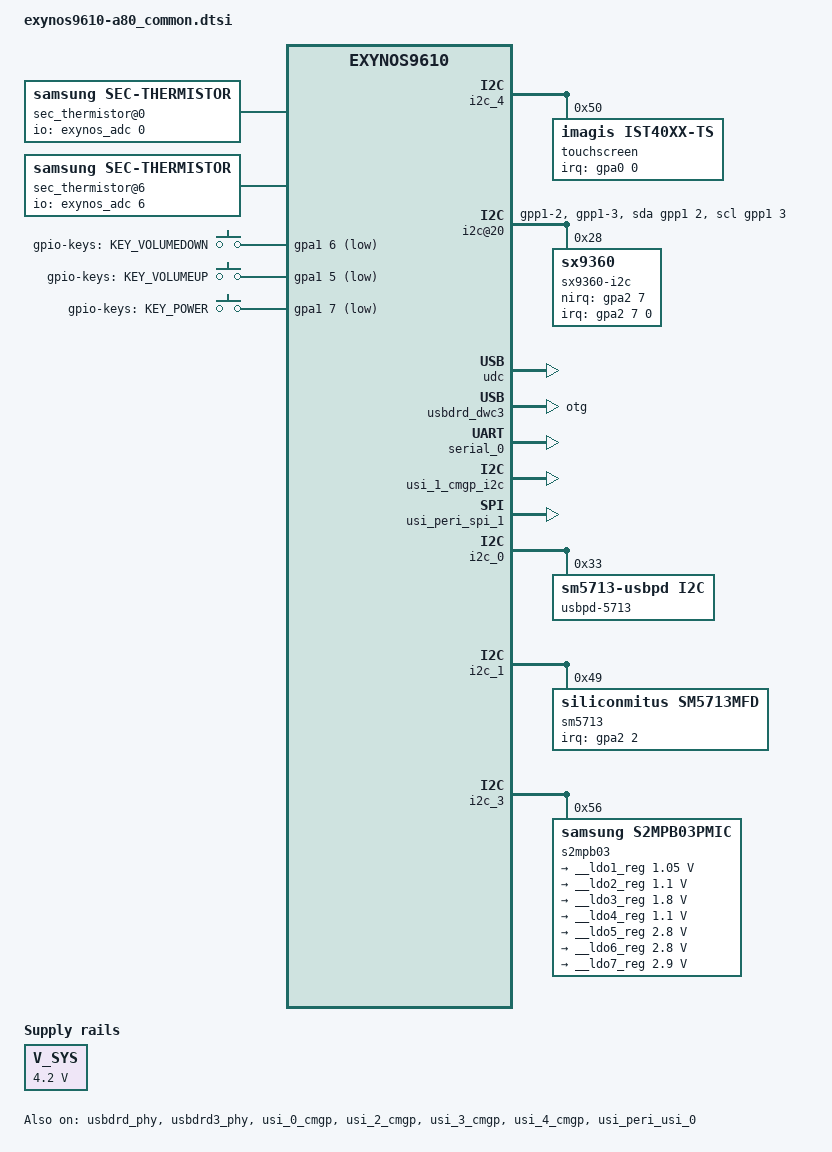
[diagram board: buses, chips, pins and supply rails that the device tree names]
/*
 * SAMSUNG EXYNOS9610 board device tree source
 *
 * Copyright (c) 2018 Samsung Electronics Co., Ltd.
 *		http://www.samsung.com
 *
 * This program is free software; you can redistribute it and/or modify
 * it under the terms of the GNU General Public License version 2 as
 * published by the Free Software Foundation.
 */

#include <dt-bindings/camera/fimc_is.h>
#include <dt-bindings/clock/exynos9610.h>
#include "modem-s337ap-sipc-pdata.dtsi"
#include "display-lcd_a80_common.dtsi"
#include "exynos9610-a80_camera.dtsi"
#include "exynos9610-a80_sound.dtsi"
#include "exynos9610-a50_mst_03.dtsi"
#include "exynos9610-inputbooster.dtsi"

/ {

	fragment@model {
		target-path = "/";
		__overlay__ {
			#address-cells = <2>;
			#size-cells = <1>;

			fixed-rate-clocks {
				oscclk {
					compatible = "samsung,exynos9610-oscclk";
					clock-frequency = <26000000>;
				};
			};

			secgpio_dvs {
				compatible = "samsung,exynos9610-secgpio-dvs";
				status = "okay";
			};

			sec_abc {
				compatible = "samsung,sec_abc";
				status = "okay";

				gpu {
					gpu,label="GPU fault";
					gpu,threshold_count=<20>;
					gpu,threshold_time=<1200>;
				};
				aicl {
					aicl,label="battery aicl";
					aicl,threshold_count=<5>;
					aicl,threshold_time=<300>;
				};
			};

			abc_hub {
				compatible = "samsung,abc_hub";
				status = "okay";

				bootc {
					bootc,time_spec_user = <100000>; /* user binary user build */
					bootc,time_spec_eng = <100000>; /* user binary eng build */
					bootc,time_spec_fac = <100000>; /* factory binary */
				};
			};

			speedy@11a10000 {
				#address-cells = <1>;
				#size-cells = <0>;
				status = "okay";
				s2mpu09mfd@00 {
					compatible = "samsung,s2mpu09mfd";
					acpm-ipc-channel = <2>;
					i2c-speedy-address;
					s2mpu09,wakeup = "enabled";
					s2mpu09,irq-gpio = <&gpa2 0 0>;
					reg = <0x00>;
					interrupts = <2 0 0>;
					interrupt-parent = <&gpa2>;
					pinctrl-names = "default";
					pinctrl-0 = <&pmic_irq &pm_wrsti>;
					/* RTC: wtsr/smpl */
					wtsr_en = "enabled"; /* enable */
					smpl_en = "enabled"; /* enable */
					wtsr_timer_val = <3>;	/* 1000ms */
					smpl_timer_val = <0>;	/* 100ms */
					check_jigon = <0>; /* do not check jigon */
					/* RTC: If it's first boot, reset rtc to 1/1/2019 12:00:00(Tue) */
					init_time,sec = <0>;
					init_time,min = <0>;
					init_time,hour = <12>;
					init_time,mday = <1>;
					init_time,mon = <0>;
					init_time,year = <119>;
					init_time,wday = <2>;

					regulators {
						b1_reg: BUCK1 {
							regulator-name = "vdd_mif";
							regulator-min-microvolt = <500000>;
							regulator-max-microvolt = <1100000>;
							regulator-always-on;
							regulator-ramp-delay = <12000>;
							regulator-initial-mode = <2>;
						};

						b2_reg: BUCK2 {
							regulator-name = "vdd_cpucl1";
							regulator-min-microvolt = <500000>;
							regulator-max-microvolt = <1300000>;
							regulator-always-on;
							regulator-ramp-delay = <12000>;
							regulator-initial-mode = <1>;
						};

						b3_reg: BUCK3 {
							regulator-name = "vdd_cpucl0";
							regulator-min-microvolt = <500000>;
							regulator-max-microvolt = <1300000>;
							regulator-always-on;
							regulator-ramp-delay = <12000>;
							regulator-initial-mode = <1>;
						};

						b4_reg: BUCK4{
							regulator-name = "vdd_int";
							regulator-min-microvolt = <500000>;
							regulator-max-microvolt = <1100000>;
							regulator-always-on;
							regulator-ramp-delay = <12000>;
							regulator-initial-mode = <2>;
						};

						b5_reg: BUCK5 {
							regulator-name = "vdd_g3d";
							regulator-min-microvolt = <500000>;
							regulator-max-microvolt = <1200000>;
							regulator-always-on;
							regulator-ramp-delay = <12000>;
							regulator-initial-mode = <2>;
						};

						b6_reg: BUCK6 {
							regulator-name = "vdd_cam_vipx";
							regulator-min-microvolt = <500000>;
							regulator-max-microvolt = <1300000>;
							regulator-always-on;
							regulator-ramp-delay = <12000>;
							regulator-initial-mode = <2>;
						};

						b7_reg: BUCK7 {
							regulator-name = "vdd2_mem";
							regulator-min-microvolt = <500000>;
							regulator-max-microvolt = <1300000>;
							regulator-always-on;
							regulator-ramp-delay = <12000>;
							regulator-initial-mode = <3>;
						};

						b8_reg: BUCK8 {
							regulator-name = "vdd_lldo";
							regulator-min-microvolt = <1200000>;
							regulator-max-microvolt = <1500000>;
							regulator-always-on;
							regulator-ramp-delay = <12000>;
							regulator-initial-mode = <3>;
						};

						b9_reg: BUCK9 {
							regulator-name = "vdd_mldo";
							regulator-min-microvolt = <1800000>;
							regulator-max-microvolt = <2100000>;
							regulator-always-on;
							regulator-ramp-delay = <12000>;
							regulator-initial-mode = <3>;
						};

						l1_reg: LDO1 {
							regulator-name = "vdd_ldo1";
							regulator-min-microvolt = <700000>;
							regulator-max-microvolt = <1300000>;
							regulator-always-on;
							regulator-ramp-delay = <12000>;
							regulator-initial-mode = <3>;
						};

						l2_reg: LDO2 {
							regulator-name = "vqmmc";
							regulator-min-microvolt = <1800000>;
							regulator-max-microvolt = <3375000>;
							regulator-ramp-delay = <12000>;
						};

						l3_reg: LDO3 {
							regulator-name = "vdd_ldo3";
							regulator-min-microvolt = <800000>;
							regulator-max-microvolt = <1950000>;
							regulator-always-on;
							regulator-ramp-delay = <12000>;
							regulator-initial-mode = <3>;
						};

						l4_reg: LDO4 {
							regulator-name = "vdd_ldo4";
							regulator-min-microvolt = <500000>;
							regulator-max-microvolt = <1100000>;
							regulator-always-on;
							regulator-ramp-delay = <12000>;
							regulator-initial-mode = <1>;
						};

						l5_reg: LDO5 {
							regulator-name = "vdd_ldo5";
							regulator-min-microvolt = <800000>;
							regulator-max-microvolt = <1300000>;
							regulator-always-on;
							regulator-ramp-delay = <12000>;
							regulator-initial-mode = <1>;
						};

						l6_reg: LDO6 {
							regulator-name = "vdd_ldo6";
							regulator-min-microvolt = <800000>;
							regulator-max-microvolt = <1300000>;
							regulator-always-on;
							regulator-ramp-delay = <12000>;
							regulator-initial-mode = <1>;
						};

						l7_reg: LDO7 {
							regulator-name = "vdd_ldo7";
							regulator-min-microvolt = <800000>;
							regulator-max-microvolt = <1950000>;
							regulator-always-on;
							regulator-ramp-delay = <12000>;
							regulator-initial-mode = <1>;
						};

						l8_reg: LDO8 {
							regulator-name = "vdd_ldo8";
							regulator-min-microvolt = <500000>;
							regulator-max-microvolt = <1300000>;
							regulator-always-on;
							regulator-ramp-delay = <12000>;
							regulator-initial-mode = <1>;
						};

						l9_reg: LDO9 {
							regulator-name = "vdd_ldo9";
							regulator-min-microvolt = <500000>;
							regulator-max-microvolt = <1300000>;
							regulator-always-on;
							regulator-ramp-delay = <12000>;
							regulator-initial-mode = <1>;
						};

						l10_reg: LDO10 {
							regulator-name = "vdd_ldo10";
							regulator-min-microvolt = <500000>;
							regulator-max-microvolt = <1300000>;
							regulator-always-on;
							regulator-ramp-delay = <12000>;
							regulator-initial-mode = <1>;
						};

						l11_reg: LDO11 {
							regulator-name = "vdd_ldo11";
							regulator-min-microvolt = <500000>;
							regulator-max-microvolt = <1300000>;
							regulator-always-on;
							regulator-ramp-delay = <12000>;
							regulator-initial-mode = <3>;
						};

						l12_reg: LDO12 {
							regulator-name = "vdd_ldo12";
							regulator-min-microvolt = <800000>;
							regulator-max-microvolt = <1300000>;
							regulator-ramp-delay = <12000>;
							regulator-initial-mode = <3>;
						};

						l13_reg: LDO13 {
							regulator-name = "vdd_ldo13";
							regulator-min-microvolt = <800000>;
							regulator-max-microvolt = <1950000>;
							regulator-ramp-delay = <12000>;
							regulator-initial-mode = <3>;
						};

						l14_reg: LDO14 {
							regulator-name = "vdd_ldo14";
							regulator-min-microvolt = <1800000>;
							regulator-max-microvolt = <3375000>;
							regulator-ramp-delay = <12000>;
							regulator-initial-mode = <3>;
						};

						l33_reg: LDO33 {
							regulator-name = "vdd_ldo33";
							regulator-min-microvolt = <800000>;
							regulator-max-microvolt = <1950000>;
							regulator-ramp-delay = <12000>;
						};

						l34_reg: LDO34 {
							regulator-name = "vdd_ldo34";
							regulator-min-microvolt = <3000000>;
							regulator-max-microvolt = <3000000>;
						};

						l35_reg: LDO35 {
							regulator-name = "LCD_3P0";
							regulator-min-microvolt = <3000000>;
							regulator-max-microvolt = <3000000>;
							regulator-boot-on;
							regulator-initial-mode = <3>;
						};

						l36_reg: LDO36 {
							regulator-name = "vdd_ldo36";
							regulator-min-microvolt = <500000>;
							regulator-max-microvolt = <1300000>;
							regulator-always-on;
							regulator-ramp-delay = <12000>;
							regulator-initial-mode = <1>;
						};

						l37_reg: LDO37 {
							regulator-name = "vdd_ldo37";
							regulator-min-microvolt = <1800000>;
							regulator-max-microvolt = <1800000>;
							regulator-initial-mode = <3>;
						};

						l38_reg: LDO38 {
							regulator-name = "VDD_BTP_3P3";
							regulator-min-microvolt = <3300000>;
							regulator-max-microvolt = <3300000>;
							regulator-ramp-delay = <12000>;
						};

						l39_reg: LDO39 {
							regulator-name = "LCD_1P8";
							regulator-min-microvolt = <1800000>;
							regulator-max-microvolt = <1800000>;
							regulator-boot-on;
							regulator-initial-mode = <3>;
						};

						l40_reg: LDO40 {
							regulator-name = "vdd_ldo40";
							regulator-min-microvolt = <3300000>;
							regulator-max-microvolt = <3300000>;
							regulator-initial-mode = <3>;
							regulator-always-on;
						};

						l41_reg: LDO41 {
							regulator-name = "VDD_GRIP_2P8";
							regulator-min-microvolt = <2800000>;
							regulator-max-microvolt = <2800000>;
							regulator-ramp-delay = <12000>;
							regulator-always-on;
							regulator-initial-mode = <3>;
							regulator-boot-on;
						};

						l42_reg: LDO42 {
							regulator-name = "vdd_ldo42";
							regulator-min-microvolt = <1800000>;
							regulator-max-microvolt = <1800000>;
							regulator-ramp-delay = <12000>;
							regulator-initial-mode = <3>;
							regulator-always-on;
						};

						l43_reg: LDO43 {
							regulator-name = "vdd_ldo43";
							regulator-min-microvolt = <500000>;
							regulator-max-microvolt = <1300000>;
							regulator-always-on;
							regulator-ramp-delay = <12000>;
							regulator-initial-mode = <1>;
						};

						l44_reg: LDO44 {
							regulator-name = "vdd_ldo44";
							regulator-min-microvolt = <800000>;
							regulator-max-microvolt = <1300000>;
							regulator-ramp-delay = <12000>;
						};
					};
				};
			};

			sec_thermistor@0 {
				compatible = "samsung,sec-thermistor";
				status = "okay";
				thermistor_name = "sec-ap-thermistor";
				id = <0>;

				adc_array = <275 324 380 450 528 619 729 856 1003 1161
					  1345 1545 1766 1980 2222 2457 2685 2901 3102 3279
					  3426 3551 3659>;
				temp_array = <900 850 800 750 700 650 600 550 500 450
					  400 350 300 250 200 150 100 50 0 (-50)
					  (-100) (-150) (-200)>;

				io-channels = <&exynos_adc 0>;
				io-channel-names = "adc-ap-temp";
				io-channel-ranges;
			};

			sec_thermistor@6 {
				compatible = "samsung,sec-thermistor";
				status = "okay";
				thermistor_name = "sec-wf-thermistor";
				id = <1>;

				adc_array = <275 324 380 450 528 619 729 856 1003 1161
					  1345 1545 1766 1980 2222 2457 2685 2901 3102 3279
					  3426 3551 3659>;
				temp_array = <900 850 800 750 700 650 600 550 500 450
					  400 350 300 250 200 150 100 50 0 (-50)
					  (-100) (-150) (-200)>;

				io-channels = <&exynos_adc 6>;
				io-channel-names = "adc-wf-temp";
				io-channel-ranges;
			};

			exynos_rgt {
				compatible = "samsung,exynos-rgt";
			};

			mailbox_cp: mcu_ipc@11920000 {
				compatible = "samsung,exynos-shd-ipc-mailbox";
				reg = <0x0 0x11920000 0x180>;
				mcu,name = "mcu_ipc_cp";
				mcu,id = <0>;
				interrupts = <0 40 0 >;
				mcu,irq_affinity_mask = <3>;
			};

			mif_pdata {
				/* GPIOs for HW REV */
				/* XGPIO27-AP_REV0, XGPIO28-AP_REV1, XGPIO29-AP_REV2 */
				gpios = <&gpg3 3 0>, <&gpg3 4 0>, <&gpg3 5 0>;
				pinctrl-names = "default";
			};

			mailbox_gnss: mcu_ipc@11A00000 {
				compatible = "samsung,exynos-shd-ipc-mailbox";
				reg = <0x0 0x11A00000 0x180>;
				mcu,name = "mcu_ipc_gnss";
				mcu,id = <1>;
				interrupts = <0 43 0>; /* INTREQ__MAILBOX_GNSS2AP */
			};

			gnss_pdata {
				status = "okay";

				compatible = "samsung,gnss_shdmem_if";
				shmem,name = "KEPLER";
				shmem,device_node_name = "gnss_ipc";

				/* INTREQ__ALIVE_GNSS_ACTIVE, INTREQ__GNSS2AP_WDOG_RESET, INTREQ__GNSS2AP_WAKEUP, INTREQ__GNSS2AP */
				interrupts = <0 27 0>, <0 81 0>, <0 80 0>, <0 79 0>;
				interrupt-names = "ACTIVE", "WATCHDOG", "WAKEUP", "REQ_INIT";

				memory-region = <&gnss_reserved>;
				mbox_info = <&mailbox_gnss>;

				mbx,int_ap2gnss_bcmd = <0>;
				mbx,int_ap2gnss_req_fault_info = <1>;
				mbx,int_ap2gnss_ipc_msg = <2>;
				mbx,int_ap2gnss_ack_wake_set = <3>;
				mbx,int_ap2gnss_ack_wake_clr = <4>;

				mbx,irq_gnss2ap_bcmd = <0>;
				mbx,irq_gnss2ap_rsp_fault_info = <1>;
				mbx,irq_gnss2ap_ipc_msg = <2>;
				mbx,irq_gnss2ap_req_wake_clr = <4>;

				mbx,reg_bcmd_ctrl = <0>, <1>, <2>, <3>;

				reg_rx_ipc_msg = <1 5>;
				reg_tx_ipc_msg = <1 4>;
				reg_rx_head = <1 3>;
				reg_rx_tail = <1 2>;
				reg_tx_head = <1 1>;
				reg_tx_tail = <1 0>;
				fault_info = <1 0x200000 0x180000>;

				shmem,ipc_offset = <0x380000>;
				shmem,ipc_size = <0x80000>;
				shmem,ipc_reg_cnt = <32>;
			};

			gpio_keys {
				#address-cells = <1>;
				#size-cells = <0>;
				compatible = "gpio-keys";
				status = "okay";
				pinctrl-names = "default";
				pinctrl-0 = <&key_voldown &key_volup &key_power>;
				button@2 {
					label = "gpio-keys: KEY_VOLUMEDOWN";
					linux,code = <114>;
					gpios = <&gpa1 6 0xf>;
				};
				button@3 {
					label = "gpio-keys: KEY_VOLUMEUP";
					linux,code = <115>;
					gpios = <&gpa1 5 0xf>;
				};
				button@4 {
					label = "gpio-keys: KEY_POWER";
					linux,code = <116>;
					gpios = <&gpa1 7 0xf>;
					gpio-key,wakeup = <1>;
				};
			};

			i2c_4:i2c@13870000 {
				status = "okay";
				samsung,i2c-sda-delay = <100>;
				samsung,i2c-max-bus-freq = <400000>;
				#address-cells = <1>;
				#size-cells = <0>;
				touchscreen@50 {
					compatible = "imagis,ist40xx-ts";
					reg = <0x50>;
					pinctrl-names = "on_state", "off_state";
					pinctrl-0 = <&attn_irq>;
					pinctrl-1 = <&attn_input>;
					imagis,irq-gpio = <&gpa0 0 0>;
					imagis,regulator_avdd = "vdd_ldo34";
					imagis,fw-bin = <1>;
					imagis,octa-hw = <1>;
					imagis,area-size = <63 126 60>; /* indicator: 24dp~63px navigator:48dp~126px edge:60px | dpi:420*/
					imagis,ic-version = "ist40xx";
					imagis,project-name = "a80";
					imagis,tclm_level = <1>;
					imagis,afe_base = <0x0110>;
					enable_settings_aot;
					support_fod;
					status = "okay";
				};
			};

			usb_notifier {
				compatible = "samsung,usb-notifier";
				udc = <&udc>;
				disable_host_wakelock;
			};

			V_SYS: fixedregulator@1 {
				compatible = "regulator-fixed";
				regulator-name = "V_SYS";
				regulator-min-microvolt = <4200000>;
				regulator-max-microvolt = <4200000>;
				regulator-boot-on;
				regulator-always-on;
			};

			dwmmc2@13550000 {
				status = "disabled";
				num-slots = <1>;
				supports-4bit;
				supports-cmd23;
				supports-erase;
				supports-highspeed;
				sd-uhs-sdr50;
				sd-uhs-sdr104;
				card-detect-gpio;
				bypass-for-allpass;
				card-init-hwacg-ctrl;
				skip-init-mmc-scan;
				qos-dvfs-int-level = <533000>;
				qos-dvfs-mif-level = <676000>;
				fifo-depth = <0x40>;
				desc-size = <4>;
				card-detect-delay = <200>;
				data-timeout = <200>;
				hto-timeout = <80>;
				samsung,dw-mshc-ciu-div = <3>;
				clock-frequency = <800000000>;
				ssc-rate = <3>;
				card-detect-invert;
				samsung,dw-mshc-sdr-timing = <3 0 2 0>;
				samsung,dw-mshc-ddr-timing = <3 0 2 1>;
				samsung,dw-mshc-sdr50-timing = <3 0 4 2>;
				samsung,dw-mshc-sdr104-timing = <3 0 3 0>;

				num-ref-clks = <9>;
				ciu_clkin = <25 50 50 25 50 100 200 50 50>;

				/* Swapping clock drive strength */
				clk-drive-number = <4>;
				pinctrl-names = "default",
					"fast-slew-rate-1x",
					"fast-slew-rate-2x",
					"fast-slew-rate-3x",
					"fast-slew-rate-4x";
				pinctrl-0 = <&sd2_clk &sd2_cmd &sd2_bus1 &sd2_bus4 &dwmmc2_cd_ext_irq>;
				pinctrl-1 = <&sd2_clk_fast_slew_rate_1x>;
				pinctrl-2 = <&sd2_clk_fast_slew_rate_2x>;
				pinctrl-3 = <&sd2_clk_fast_slew_rate_3x>;
				pinctrl-4 = <&sd2_clk_fast_slew_rate_4x>;

				card-detect = <&gpa2 4 0xf>;
				sec-sd-slot-type = <2>; /* Hybrid Tray SD slot */
				#address-cells = <1>;
				#size-cells = <0>;

				slot@0 {
					reg = <0>;
					bus-width = <4>;
					disable-wp;
				};
			};

			usb_hs_tune:usb_hs_tune {
				hs_tune_cnt = <12>;

				/* value = <device host> */
				hs_tune1 {
					tune_name = "tx_vref";
					tune_value = <0xd 0xa>;
				};

				hs_tune2 {
					tune_name = "tx_pre_emp";
					tune_value = <0x3 0x3>;
				};

				hs_tune3 {
					tune_name = "tx_pre_emp_plus";
					tune_value = <0x0 0x0>;
				};

				hs_tune4 {
					tune_name = "tx_res";
					tune_value = <0x3 0x3>;
				};

				hs_tune5 {
					tune_name = "tx_rise";
					tune_value = <0x3 0x3>;
				};

				hs_tune6 {
					tune_name = "tx_hsxv";
					tune_value = <0x3 0x3>;
				};

				hs_tune7 {
					tune_name = "tx_fsls";
					tune_value = <0x3 0x3>;
				};

				hs_tune8 {
					tune_name = "rx_sqrx";
					tune_value = <0x7 0x7>;
				};

				hs_tune9 {
					tune_name = "compdis";
					tune_value = <0x7 0x7>;
				};

				hs_tune10 {
					tune_name = "otg";
					tune_value = <0x2 0x2>;
				};

				hs_tune11 {
				/* true : 1, false: 0 */
				/* <enable_user_imp user_imp_value> */
					tune_name = "enable_user_imp";
					tune_value = <0x0 0x0>;
				};

				hs_tune12 {
				/* PHY clk : 1 , FREE clk : 0 */
					tune_name = "is_phyclock";
					tune_value = <0x1 0x1>;
				};
			};

			/* Secure RPMB */
			ufs-srpmb {
				compatible = "samsung,ufs-srpmb";
				interrupts = <0 460 0>;
			};

			usb3_ss_tune:usb3_ss_tune {
				ss_tune_cnt = <15>;

				/* value = <device host> */
				ss_tune1 {
					tune_name = "tx0_term_offset";
					tune_value = <0x0 0x0>;
				};

				ss_tune2 {
					tune_name = "pcs_tx_swing_full";
					tune_value = <0x7f 0x7f>;
				};

				ss_tune3 {
					tune_name = "pcs_tx_deemph_6db";
					tune_value = <0x1c 0x1c>;
				};

				ss_tune4 {
					tune_name = "pcs_tx_deemph_3p5db";
					tune_value = <0x1c 0x1c>;
				};

				ss_tune5 {
					tune_name = "tx_vboost_lvl_sstx";
					tune_value = <0x7 0x7>;
				};

				ss_tune6 {
					tune_name = "tx_vboost_lvl";
					tune_value = <0x4 0x4>;
				};

				ss_tune7 {
					tune_name = "los_level";
					tune_value = <0x9 0x9>;
				};

				ss_tune8 {
					tune_name = "los_bias";
					tune_value = <0x5 0x5>;
				};

				ss_tune9 {
					tune_name = "pcs_rx_los_mask_val";
					tune_value = <0x104 0x104>;
				};

				ss_tune10 {
					tune_name = "tx_eye_height_cntl_en";
					tune_value = <0x1 0x1>;
				};

				ss_tune11 {
					tune_name = "pipe_tx_deemph_update_delay";
					tune_value = <0x2 0x2>;
				};

				ss_tune12 {
					tune_name = "pcs_tx_swing_full_sstx";
					tune_value = <0x7f 0x7f>;
				};
				ss_tune13 {
					tune_name = "rx_eq_fix_val";
					tune_value = <0x2 0x2>;
				};

				ss_tune14 {
					tune_name = "rx_decode_mode";
					tune_value = <0x1 0x1>;
				};

				ss_tune15 {
					tune_name = "decrese_ss_tx_imp";
					tune_value = <0x1 0x1>;
				};
			};

			usb3_hs_tune:usb3_hs_tune {
				hs_tune_cnt = <10>;

				/* value = <device host> */
				hs_tune1 {
					tune_name = "tx_pre_emp";
					tune_value = <0x3 0x3>;
				};

				hs_tune2 {
					tune_name = "tx_pre_emp_plus";
					tune_value = <0x0 0x0>;
				};

				hs_tune3 {
					tune_name = "tx_vref";
					tune_value = <0x7 0x7>;
				};

				hs_tune4 {
					tune_name = "rx_sqrx";
					tune_value = <0x7 0x7>;
				};

				hs_tune5 {
					tune_name = "tx_rise";
					tune_value = <0x3 0x3>;
				};

				hs_tune6 {
					tune_name = "compdis";
					tune_value = <0x7 0x7>;
				};

				hs_tune7 {
					tune_name = "tx_hsxv";
					tune_value = <0x3 0x3>;
				};

				hs_tune8 {
					tune_name = "tx_fsls";
					tune_value = <0x3 0x3>;
				};

				hs_tune9 {
					tune_name = "tx_res";
					tune_value = <0x3 0x3>;
				};

				hs_tune10 {
					tune_name = "utim_clk";
					tune_value = <0x1 0x1>;
				};
			};

			hall {
				status = "okay";
				compatible = "hall";
				pinctrl-names = "default";
				pinctrl-0 = <&hall_irq>;
				hall,gpio_flip_cover = <&gpa0 3 0>;
			};

			certify_hall {
				status = "okay";
				compatible = "certify_hall";
				pinctrl-names = "default";
				pinctrl-0 = <&certify_hall_irq>;
				certify_hall,gpio_certify_cover = <&gpa0 2 0>;
			};

			nad_balancer {
				compatible = "samsung,sec_nad_balancer";
				status = "okay";

				nad_balancer,timeout = <400>;

				qos {
					cl0 {
						qos,label="LIT";
						qos,delay_time=<10>;
						qos,table_size=<13>;
						qos,table=<1742000 1638000 1534000 1456000 1326000 1222000 1118000 1053000 910000
								806000 702000 598000 403000>;
					};

					cl1 {
						qos,label="BIG";
						qos,delay_time=<10>;
						qos,table_size=<15>;
						qos,table=<2314000 2210000 2184000 2080000 1976000 1898000 1768000 1664000 1508000
								1456000 1352000 1248000 1144000 1040000 936000>;
					};

					mif {
						qos,label="MIF";
						qos,delay_time=<10>;
						qos,table_size=<10>;
						qos,table=<2093000 2002000 1794000 1539000 13352000 1014000 845000 676000 546000 419000>;
					};
				};

				sleep {
					/* per msec */
					sleep,suspend_threshold = <1000>;
					sleep,resume_threshold = <1000>;
				};
			};

			argos {
				compatible = "samsung,argos";
				#address-cells = <1>;
				/*  The device number should be assigned for each device, e.g. "boot_device@1" and "boot_device@2".
				 * Duplicated number is not allowed. Please refer the below example.
				 */

				/* Table Format should be
				 * <Throughput(Mbps) BIG_min BIG_max MID_min MID_max LIT_min Little_max MIF INT Task IRQ HMP_boost>
				 * BIG_min : Big Core's minimum frequency lock. 0 means not set,
				 * BIG_max : Big Core's maximum frequency lock. 0 means not set,
				 * LIT_min : Little Core's minimum frequency lock. 0 means not set,
				 * LIT_max : Little Core's maximum frequency lock. 0 means not set,
				 * MIF : MIF frequency lock. 0 means not set,
				 * INT : INT frequency lock. 0 means not set,
				 * Task : 1 - Set task affinity lock.
				 *	0 - Not set or unlock,
				 *		Task affinity should be predefined driver's code.
				 * IRQ : 1 - Set irq affinity lock.
				 *       0 - Not set or unlock,
				 *		Task affinity should be predefined driver's code.
				 * HMP_boots : 1 - Increase hmp boosting count
				 *             0 - Decrease hmp boosting count
				 */

				/*
				 * boot_device@9 {
				 *	net_boost,label="WIFI RX";
				 *	net_boost,node="wlan0";
				 *	net_boost,table_size = <4>;
				 *	net_boost,table= <
				 *		5  2002000 0 1690000 0 0 0 0 0 0
				 *		10 2002000 0 1690000 0 0 0 0 0 0
				 *		20 2002000 0 1690000 0 845000 400000 1 1 1
				 *		30 2002000 0 1690000 0 1352000 533000 1 1 1
				 *		>;
				 * };
				 */
				boot_device@1 {
					net_boost,label="IPC";
					net_boost,node="rmnet0 rmnet1 rmnet2 rmnet3 rmnet4 rmnet5 rmnet6 rmnet7 umts_dm0";
					net_boost,table_size = <4>;
					net_boost,table= <
						50 0 0 910000 0 845000 0 0 0 0
						100 0 0 1326000 0 1014000 0 0 0 0
						200 0 0 1534000 0 1352000 0 0 0 0
						300 16640000 0 1456000 0 1539000 0 0 0 0
						>;
				};

				boot_device@2 {
					net_boost,label="CLAT";
					net_boost,node="clat clat4 v4-rmnet0 v4-rmnet1 v4-rmnet2 v4-rmnet3 v4-rmnet4 v4-rmnet5 v4-rmnet6 v4-rmnet7";
					net_boost,table_size = <3>;
					net_boost,table= <
						100 1040000 0 0 0 0 0 1014000 0 0 0 0
						150 1248000 0 0 0 0 0 1352000 0 0 0 0
						200 1456000 0 0 0 0 0 2093000 0 0 0 0
						>;
				};

				boot_device@3 {
					net_boost,label="USB";
					net_boost,node="rndis0";
					net_boost,table_size = <1>;
					net_boost,table= < 0 0 0 0 0 0 0 0 1 0 >;
				};
			};

			i2c@20 {
				compatible = "i2c-gpio";
				gpios = <&gpp1 2 0
						&gpp1 3 0>;
				i2c-gpio,delay-us = <5>;
				#address-cells = <1>;
				#size-cells = <0>;
				pinctrl-names = "default";
				pinctrl-0 = <&grip_i2c_active>;

				sx9360-i2c@28 {
					compatible = "sx9360";
					reg = <0x28>;
					pinctrl-names = "default";
					pinctrl-0 = <&grip_int_active>;

					interrupt-parent = <&gpa2>;
					interrupts = <7 0 0>;

					sx9360,nirq-gpio = <&gpa2 7 0>;
					sx9360,refagainfreq_reg = <0x6a>; /* same as againfreq_reg */
					sx9360,againfreq_reg = <0x6a>; /* freq : 41.67 kHz, again : +/-9 pF */
					sx9360,refgainrawfilt_reg = <0x21>; /* rawfilter : 1-1/2, gain : x8 */
					sx9360,gainrawfilt_reg = <0x21>; /* rawfilter : 1-1/2, gain : x8 */
					sx9360,hyst_reg = <0x10>; /* hysteresis : +/-6 % */
					sx9360,proxthresh_reg = <0x20>; /* threshhold : 512 */
				};
			};
		};
	};
};

&udc {
	status = "okay";
	dwc3 {
		dr_mode = "otg";
		maximum-speed = "high-speed";
	};
};

&usbdrd_dwc3 {
	dr_mode = "otg";
	maximum-speed = "high-speed";

	usb_audio_offloading = <1>;
	abox = <&abox>;

	ldo-names = "vdd_ldo12", "vdd_ldo13", "vdd_ldo14";
};

&usbdrd_phy {
	status = "okay";
	usb3phy-isolation = <1>;
	hs_tune_param = <&usb_hs_tune>;
};

&usbdrd3_phy {
	status = "okay";
	usb3phy-isolation = <1>;
	hs_tune_param = <&usb3_hs_tune>;
	ss_tune_param = <&usb3_ss_tune>;
};

&serial_0 {
	samsung,uart-logging;
	status = "okay";
};

&pinctrl_0 {
	key_voldown: key-voldown {
		samsung,pins = "gpa1-6";
		samsung,pin-function = <0xf>;
		samsung,pin-pud = <0>;
		samsung,pin-drv = <0>;
	};

	key_volup: key-volup {
		samsung,pins = "gpa1-5";
		samsung,pin-function = <0xf>;
		samsung,pin-pud = <0>;
		samsung,pin-drv = <0>;
	};

	key_power: key-power {
		samsung,pins = "gpa1-7";
		samsung,pin-function = <0xf>;
		samsung,pin-pud = <0>;
		samsung,pin-drv = <0>;
	};

	attn_irq: attn-irq {
		samsung,pins = "gpa0-0";
		samsung,pin-function = <0xf>;
		samsung,pin-pud = <0>;
		samsung,pin-drv = <0>;
	};

	attn_input: attn-input {
		samsung,pins = "gpa0-0";
		samsung,pin-function = <0>;
		samsung,pin-pud = <1>;
	};

	if_pmic_irq: if-pmic-irq {
		samsung,pins = "gpa2-2";
		samsung,pin-function = <0>;
		samsung,pin-pud = <0>;
		samsung,pin-drv = <0>;
	};

	pmic_irq: pmic-irq {
		samsung,pins = "gpa2-0";
		samsung,pin-pud = <3>;
		samsung,pin-drv = <3>;
	};

	codec_irq: codec_irq {
		samsung,pins ="gpa1-2";
		samsung,pin-function = <0xf>;
		samsung,pin-pud = <0>;
	};

	dwmmc2_cd_ext_irq: dwmmc2_cd_ext_irq {
		samsung,pins = "gpa2-4";
		samsung,pin-function = <0xf>;
		samsung,pin-pud = <0>;
		samsung,pin-drv = <3>;
	};

	hall_irq: hall-irq {
		samsung,pins = "gpa0-3";
		samsung,pin-function = <0xf>;
		samsung,pin-pud = <0>;
		samsung,pin-drv = <0>;
	};

	certify_hall_irq: certify-hall-irq {
		samsung,pins = "gpa0-2";
		samsung,pin-function = <0xf>;
		samsung,pin-pud = <0>;
		samsung,pin-drv = <0>;
	};

	usbpd_irq: usbpd-irq {
		samsung,pins = "gpa2-3";
		samsung,pin-function = <0x0f>;
		samsung,pin-pud = <0>;
		samsung,pin-drv = <0>;
	};

	grip_int_active: grip-int-active {
		samsung,pins = "gpa2-7";
		samsung,pin-function = <0xf>;
		samsung,pin-pud = <0>;
	};
};

&pinctrl_4 {
/*	vdd_on: vdd-on {
		samsung,pins = "gpg3-1";
		samsung,pin-function = <1>;
		samsung,pin-val = <1>;
		samsung,pin-pud = <0>;
	};

	vdd_off: vdd-off {
		samsung,pins = "gpg3-1";
		samsung,pin-function = <0>;
		samsung,pin-val = <0>;
		samsung,pin-pud = <1>;
	};
*/
	vbus_discharging: vbus-discharging {
		samsung,pins = "gpg0-4";
		samsung,pin-function = <1>;
		samsung,pin-pud = <0>;
		samsung,pin-drv = <0>;
		samsung,pin-val	= <0>;
		samsung,pin-con-pdn = <3>;
		samsung,pin-pud-pdn = <0>;
	};

	/* Warm reset information from AP */
	pm_wrsti: pm-wrsti {
		samsung,pins = "gpg0-7";
		samsung,pin-con-pdn = <3>;
	};

	grip_i2c_active: grip-i2c-active {
		samsung,pins = "gpp1-2", "gpp1-3";
		samsung,pin-function = <2>;
		samsung,pin-pud = <0>;
	};
};

&fmp_0 {
	 exynos,block-type = "sda";
	 exynos,fips-block_offset = <5>;
};

/* USI_0_SHUB */
&usi_0_shub {
	status = "disabled";
};

/* USI_SHUB_0_I2C */
&usi_0_shub_i2c {
	/*	usi_v2_mode = "i2c" or "spi" or "uart"	*/
	status = "disabled";
};

/* USI_0_CMGP */
&usi_0_cmgp {
	/*	usi_v2_mode = "i2c" or "spi" or "uart"	*/
	usi_v2_mode = "spi";
	status = "okay";
};

/* USI_0_CMGP_I2C */
&usi_0_cmgp_i2c {
	/*	usi_v2_mode = "i2c" or "spi" or "uart"	*/
	status = "disabled";
};

/* USI_1_CMGP */
&usi_1_cmgp {
	/*	usi_v2_mode = "i2c" or "spi" or "uart"	*/
	status = "disabled";
};

/* USI_1_CMGP_I2C */
&usi_1_cmgp_i2c {
	usi_v2_mode = "i2c";
	status = "okay";
};

/* USI_2_CMGP */
&usi_2_cmgp {
	/*	usi_v2_mode = "i2c" or "spi" or "uart"	*/
	usi_v2_mode = "i2c";
	status = "okay";
};

/* USI_2_CMGP_I2C */
&usi_2_cmgp_i2c {
	/*	usi_v2_mode = "i2c" or "spi" or "uart"	*/
	status = "disabled";
};

/* USI_3_CMGP */
&usi_3_cmgp {
	usi_v2_mode = "i2c";
	status = "okay";
};

/* USI_3_CMGP_I2C */
&usi_3_cmgp_i2c {
	/*	usi_v2_mode = "i2c" or "spi" or "uart"	*/
	status = "disabled";
};

/* USI_4_CMGP */
&usi_4_cmgp {
	usi_v2_mode = "i2c";
	status = "okay";
};

/* USI_4_CMGP_I2C */
&usi_4_cmgp_i2c {
	status = "disabled";
};

/* USI_PERI_USI_0 */
&usi_peri_usi_0 {
	usi_v2_mode = "i2c";
	status = "okay";
};

/* USI_PERI_USI_0_I2C */
&usi_peri_usi_0_i2c {
	/*	usi_v2_mode = "i2c" or "spi" or "uart"	*/
	status = "disabled";
};

/* USI_PERI_SPI_1 */
&usi_peri_spi_1 {
	usi_v2_mode = "spi";
	status = "okay";
};

&i2c_0 {
	i2c-gpio,delay-us = <5>;
	status = "okay";
	samsung,glitch-filter;
	samsung,fix-doxfer-return;
	#address-cells = <1>;
	#size-cells = <0>;
	samsung,i2c-max-bus-freq = <400000>;
	usbpd-5713@33 {
		compatible = "sm5713-usbpd,i2c";
		reg = <0x33>;
		pinctrl-names = "default";
		/* vconn-en; */
		support_pd_role_swap;
		pinctrl-0 = <&usbpd_irq &vbus_discharging>;
		usbpd,usbpd_int = <&gpa2 3 0>;
		usbpd,vbus_discharging = <&gpg0 4 0>;
	};
};

&i2c_1 {
	#address-cells = <1>;
	#size-cells = <0>;
	status = "okay";
	samsung,glitch-filter;
	samsung,fix-doxfer-return;
	samsung,i2c-max-bus-freq = <400000>;
	sm5713@49{
		compatible = "siliconmitus,sm5713mfd";
		reg = <0x49>;
		pinctrl-names = "default";
		pinctrl-0 = <&chg_en &if_pmic_irq>;
		sm5713,irq-gpio = <&gpa2 2 0>;
		sm5713,wakeup;
	};
};

&i2c_3 {
	status = "okay";
	#address-cells = <1>;
	#size-cells = <0>;
	s2mpb03@56 {
		compatible = "samsung,s2mpb03pmic";
		reg = <0x56>;

		s2mpb03,wakeup;

		regulators {
			__ldo1_reg: s2mpb03-ldo1 {
				regulator-name = "CAM_VLDO1";
				regulator-min-microvolt = <1050000>;
				regulator-max-microvolt = <1050000>;
			};

			__ldo2_reg: s2mpb03-ldo2 {
				regulator-name = "CAM_VLDO2";
				regulator-min-microvolt = <1100000>;
				regulator-max-microvolt = <1100000>;
			};

			__ldo3_reg: s2mpb03-ldo3 {
				regulator-name = "CAM_VLDO3";
				regulator-min-microvolt = <1800000>;
				regulator-max-microvolt = <1800000>;
			};

			__ldo4_reg: s2mpb03-ldo4 {
				regulator-name = "CAM_VLDO4";
				regulator-min-microvolt = <1100000>;
				regulator-max-microvolt = <1100000>;
			};

			__ldo5_reg: s2mpb03-ldo5 {
				regulator-name = "CAM_VLDO5";
				regulator-min-microvolt = <2800000>;
				regulator-max-microvolt = <2800000>;
			};

			__ldo6_reg: s2mpb03-ldo6 {
				regulator-name = "CAM_VLDO6";
				regulator-min-microvolt = <2800000>;
				regulator-max-microvolt = <2800000>;
			};

			__ldo7_reg: s2mpb03-ldo7 {
				regulator-name = "CAM_VLDO7";
				regulator-min-microvolt = <2900000>;
				regulator-max-microvolt = <2900000>;
			};
		};
	};
};
